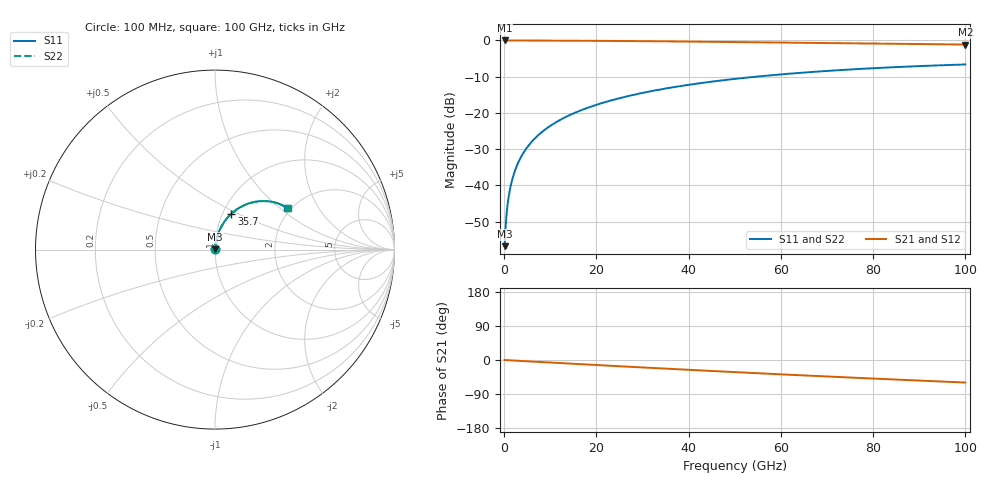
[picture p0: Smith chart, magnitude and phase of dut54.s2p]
! Touchstone file exported from HFSS 2026.1.0
!  File:  C:/ffzhzh/LocalFiles/Ansys_Project_Files/temp_train_RDL_54_1783498361_9504.aedt
!  Generated:  04:13:48 PM Jul  8, 2026
!  Design:  RDL
!  Project:  temp_train_RDL_54_1783498361_9504
! Variables:
!  h_bsmrdl = 2um
!  h_ox = 20um
!  h_rdl = 5um
!  h_sub = 80um
!  h_tmrdl = 2.5um
!  h_tsv = 80um
!  h_via = 3um
!  l_bsmrdl = 300um
!  l_sub = 557.71um
!  l_tmrdl = 157.71um
!  m_sub = 200um
!  pitch = 47.47um
!  r_tsv = 6um
!  s_tmrdl = 10um
!  w_bsmrdl = 18um
!  w_sub = 500um
!  w_tmrdl = 25.11um
!  x_tsv_center1 = 170.265um
!  x_tsv_center2 = 488.265um
!  x_tsv_center3 = 671.085um
!  x_tsv_center4 = 989.085um
!  x_tsv_center5 = 1171.905um
!  x_tsv_center6 = 1489.905um
# GHz S MA R 50.000000
! Terminal data exported
! Port[1] = TM_RDL1_1_T1
! Port[2] = TM_RDL1_1_T2
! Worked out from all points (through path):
!   1000 points, 100 MHz to 100 GHz, reference 50 ohm
!   highest |S21| = -0.01 dB at 100 MHz (marker M1); lowest = -1.1 dB at 100 GHz (marker M2)
!   group delay of S21, straight-line fit = 1.65 ps
!   lowest |S11| = -56.8 dB at 100 MHz (marker M3), VSWR 1.00, Z = 50.1 + j0.0751 ohm
!   |S11| at or under -10 dB: start of sweep to 54.72 GHz
!   |S22| runs from -56.8 to -6.6 dB; largest |S21 - S12| = 3.2e-15
!   S11 on the Smith chart (normalised r, x): 100 MHz: 1.00, +0.00; 35.7 GHz: 1.10, +0.46; 100 GHz: 1.91, +1.13
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0.1  0.001444 31.3  0.9988 -0.1  0.9988 -0.1  0.001444 31.3
! Gamma 0 0 0 0
! Port Impedance 50 0 50 0
0.4  0.003203 64.2  0.9986 -0.3  0.9986 -0.3  0.003203 64.2
0.7  0.005126 72.5  0.9985 -0.5  0.9985 -0.5  0.005126 72.5
0.9  0.006415 75.4  0.9984 -0.6  0.9984 -0.6  0.006415 75.4
1.2  0.008362 78.2  0.9984 -0.8  0.9984 -0.8  0.008363 78.2
1.6  0.01098 80.3  0.9983 -1.1  0.9983 -1.1  0.01098 80.3
2.1  0.01428 81.8  0.9982 -1.4  0.9982 -1.4  0.01428 81.8
2.7  0.01825 82.7  0.9981 -1.8  0.9981 -1.8  0.01825 82.7
3.4  0.02289 83.2  0.9979 -2.3  0.9979 -2.3  0.02289 83.2
4.2  0.02818 83.3  0.9977 -2.8  0.9977 -2.8  0.02818 83.3
5.2  0.03479 83.2  0.9974 -3.5  0.9974 -3.5  0.03479 83.2
6.3  0.04203 82.9  0.997 -4.2  0.997 -4.2  0.04203 82.8
9.1  0.06033 81.5  0.9957 -6.1  0.9957 -6.1  0.06033 81.5
12.6  0.08286 79.5  0.9935 -8.4  0.9935 -8.4  0.08286 79.4
16.8  0.1093 76.9  0.9903 -11.2  0.9903 -11.2  0.1093 76.9
24.2  0.1545 72.4  0.9835 -16.0  0.9835 -16.0  0.1545 72.3
33.4  0.2078 66.8  0.9729 -21.8  0.9729 -21.8  0.2078 66.7
35.7  0.2206 65.4  0.9699 -23.2  0.9699 -23.2  0.2206 65.3
50.1  0.2947 56.8  0.9494 -32.0  0.9494 -32.0  0.2947 56.7
66.7  0.3666 47.4  0.9236 -41.7  0.9236 -41.7  0.3666 47.2
83.4  0.4237 38.4  0.8987 -50.8  0.8987 -50.8  0.4237 38.2
100  0.4657 29.9  0.8776 -59.5  0.8776 -59.5  0.4657 29.6
